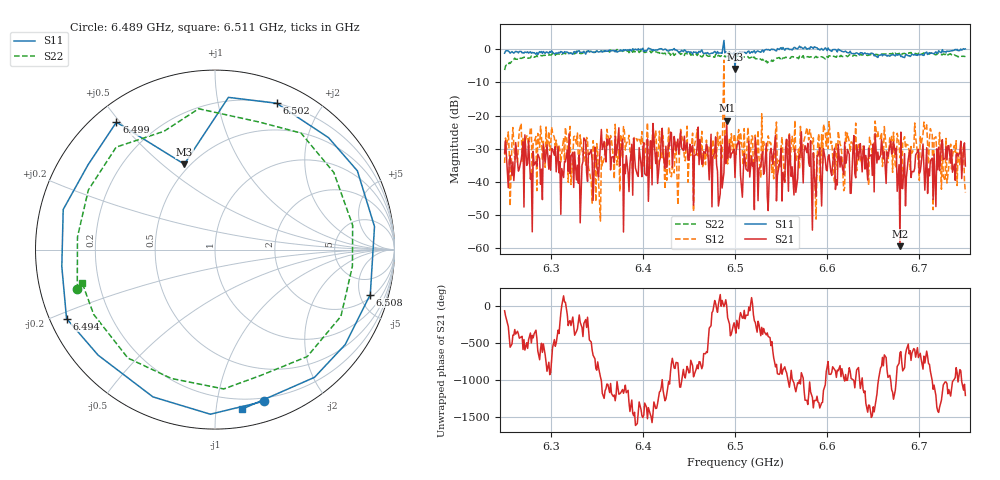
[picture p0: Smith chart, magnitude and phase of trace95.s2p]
# Hz S RI R 50
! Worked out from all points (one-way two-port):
!   401 points, 6.25 GHz to 6.75 GHz, reference 50 ohm
!   highest |S21| = -21.52 dB at 6.491 GHz (marker M1); lowest = -59.5 dB at 6.679 GHz (marker M2)
!   lowest |S11| = -5.9 dB at 6.5 GHz (marker M3), VSWR 3.05, Z = 23.3 + j29.8 ohm
!   |S11| at or under -10 dB: nowhere
!   |S22| runs from -6.2 to 0.0 dB; largest |S21 - S12| = 0.69
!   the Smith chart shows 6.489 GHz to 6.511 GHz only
!   S11 on the Smith chart (normalised r, x): 6.489 GHz: 0.17, -1.36; 6.494 GHz: 0.05, -0.22; 6.499 GHz: 0.07, +0.49; 6.502 GHz: 0.20, +1.49; 6.508 GHz: 2.34, -6.20; 6.511 GHz: 0.12, -1.18
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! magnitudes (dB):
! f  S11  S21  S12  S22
! 6.25 GHz  -1.1  -31.3  -34.4  -6.2
! 6.334 GHz  -0.9  -35.0  -30.5  -1.2
! 6.351 GHz  -0.7  -37.5  -31.0  -0.5
! 6.364 GHz  -0.2  -27.0  -28.9  -0.8
! 6.381 GHz  -0.1  -37.6  -30.4  -0.6
! 6.418 GHz  0.2  -34.0  -24.7  -1.0
! 6.431 GHz  -0.1  -25.2  -38.5  -1.1
! 6.485 GHz  -1.1  -29.0  -32.9  -1.9
! 6.489 GHz  -1.0  -26.2  -32.3  -2.0
! 6.491 GHz  -1.0  -21.5  -25.9  -2.2
! 6.494 GHz  -0.8  -28.5  -26.8  -2.9
! 6.499 GHz  -0.9  -30.2  -25.7  -2.1
! 6.5 GHz  -5.9  -38.8  -26.5  -2.2
! 6.502 GHz  -1.1  -29.1  -28.9  -2.0
! 6.508 GHz  -0.9  -44.7  -30.6  -2.4
! 6.511 GHz  -0.9  -33.9  -35.2  -2.3
! 6.584 GHz  0.6  -54.7  -28.6  -2.2
! 6.59 GHz  0.0  -32.1  -27.5  -2.3
! 6.668 GHz  -2.1  -29.4  -26.5  -1.3
! 6.679 GHz  -1.5  -59.5  -32.8  -1.0
! 6.706 GHz  -1.1  -42.6  -24.1  -1.5
! 6.75 GHz  0.2  -35.3  -43.3  -2.2
